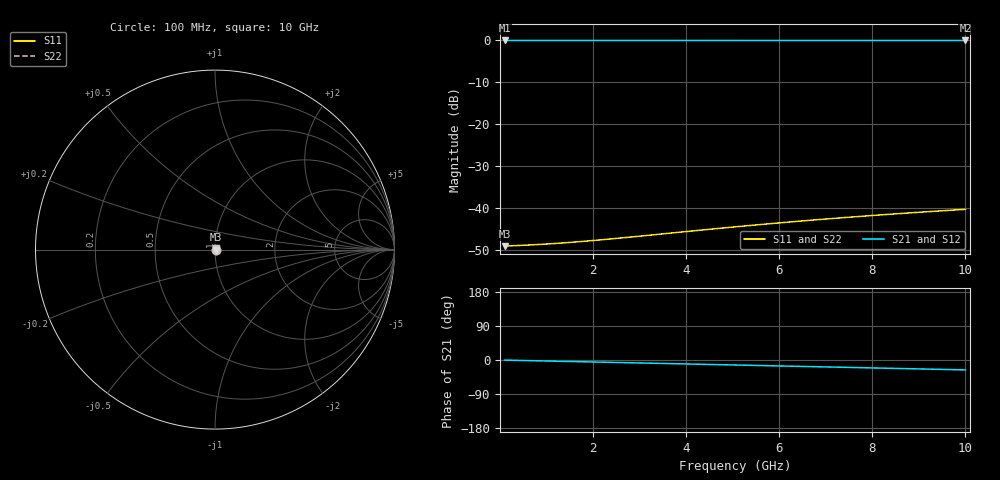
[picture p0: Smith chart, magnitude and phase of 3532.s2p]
# Hz S RI R 50.00
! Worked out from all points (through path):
!   100 points, 100 MHz to 10 GHz, reference 50 ohm
!   highest |S21| = -0.03 dB at 100 MHz (marker M1); lowest = 0.0 dB at 10 GHz (marker M2)
!   group delay of S21, straight-line fit = 7.26 ps
!   lowest |S11| = -49.0 dB at 100 MHz (marker M3), VSWR 1.01, Z = 50.4 + j0.00803 ohm
!   |S11| at or under -10 dB: start of sweep to end of sweep
!   |S22| runs from -49.0 to -40.2 dB; largest |S21 - S12| = 1e-12
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1e8  0.00355 7.97e-05  0.9964 -0.00453  0.9964 -0.00453  0.00355 7.97e-05
2e8  0.00357 0.000159  0.9964 -0.00906  0.9964 -0.00906  0.00357 0.000159
7e8  0.00364 0.000555  0.9958 -0.0317  0.9958 -0.0317  0.00364 0.000555
1e9  0.00368 0.000791  0.9953 -0.0453  0.9953 -0.0453  0.00368 0.000791
1.2e9  0.00371 0.000947  0.9948 -0.0544  0.9948 -0.0544  0.00371 0.000947
1.4e9  0.00374 0.0011  0.9943 -0.0634  0.9943 -0.0634  0.00374 0.0011
1.8e9  0.0038 0.00141  0.9929 -0.0815  0.9929 -0.0815  0.0038 0.00141
2.1e9  0.00386 0.00164  0.9917 -0.095  0.9917 -0.095  0.00386 0.00164
2.5e9  0.00394 0.00195  0.9898 -0.1131  0.9898 -0.1131  0.00394 0.00195
2.9e9  0.00403 0.00225  0.9875 -0.1311  0.9875 -0.1311  0.00403 0.00225
3.4e9  0.00416 0.00261  0.9842 -0.1535  0.9842 -0.1535  0.00416 0.00261
4.4e9  0.00447 0.00333  0.9762 -0.1981  0.9762 -0.1981  0.00447 0.00333
5.1e9  0.00472 0.0038  0.9693 -0.2292  0.9693 -0.2292  0.00472 0.0038
5.9e9  0.00505 0.00432  0.9602 -0.2644  0.9602 -0.2644  0.00505 0.00432
6.3e9  0.00523 0.00457  0.9552 -0.2818  0.9552 -0.2818  0.00523 0.00457
6.7e9  0.00542 0.00481  0.9499 -0.2992  0.9499 -0.2992  0.00542 0.00481
7.1e9  0.00562 0.00504  0.9443 -0.3165  0.9443 -0.3165  0.00562 0.00504
7.5e9  0.00582 0.00526  0.9383 -0.3337  0.9383 -0.3337  0.00582 0.00526
7.9e9  0.00604 0.00548  0.932 -0.3508  0.932 -0.3508  0.00604 0.00548
8.4e9  0.00632 0.00574  0.9237 -0.372  0.9237 -0.372  0.00632 0.00574
9.2e9  0.00679 0.00612  0.9094 -0.4055  0.9094 -0.4055  0.00679 0.00612
1e10  0.0073 0.00646  0.894 -0.4385  0.894 -0.4385  0.0073 0.00646
